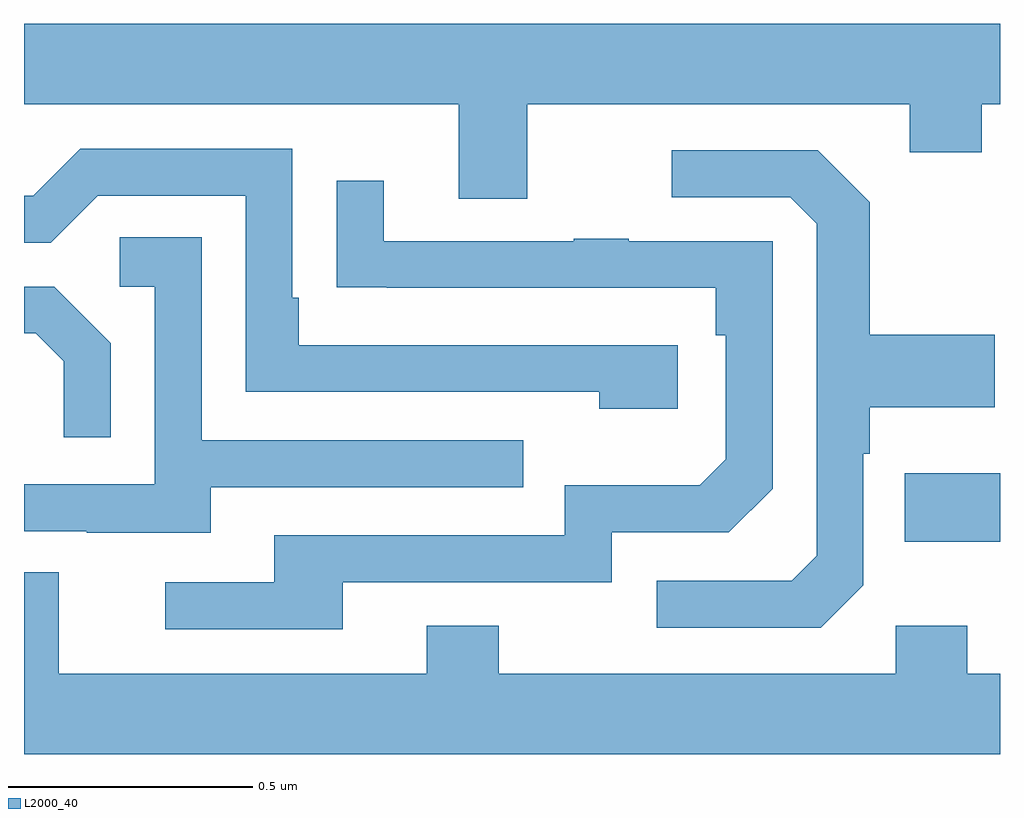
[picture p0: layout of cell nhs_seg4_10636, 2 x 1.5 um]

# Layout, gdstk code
import gdstk
lib = gdstk.Library(unit=1e-6, precision=1e-09)
def R(c, l, rs):  # rectangles x0, y0, x1, y1
    for r in rs: c.add(gdstk.rectangle(r[:2], r[2:], *l))
def P(c, l, *ps):  # polygons
    for p in ps: c.add(gdstk.Polygon(p, *l))
L2000_40 = (2000, 40)

nhs_seg4_10636 = lib.new_cell('nhs_seg4_10636')
R(nhs_seg4_10636, L2000_40, [(243.805,806.579,244,806.719)])
P(nhs_seg4_10636, L2000_40, [(243.031,807.476),(243.815,807.476),(243.815,807.377),(243.963,807.377),(243.963,807.476),(244,807.476),(244,807.64),(242,807.64),(242,807.476),(242.891,807.476),(242.891,807.282),(243.031,807.282)],
  [(243.34,806.982),(242.563,806.982),(242.563,807.079),(242.55,807.079),(242.55,807.384),(242.115,807.384),(242.019,807.288),(242,807.288),(242,807.192),(242.055,807.192),(242.151,807.288),(242.454,807.288),(242.454,806.886),(243.179,806.886),(243.179,806.852),(243.34,806.852)],
  [(243.72,806.49),(243.72,806.759),(243.733,806.759),(243.733,806.855),(243.989,806.855),(243.989,807.003),(243.733,807.003),(243.733,807.275),(243.627,807.381),(243.327,807.381),(243.327,807.285),(243.57,807.285),(243.624,807.231),(243.624,806.55),(243.573,806.499),(243.297,806.499),(243.297,806.403),(243.633,806.403)],
  [(242.653,806.496),(243.204,806.496),(243.204,806.598),(243.444,806.598),(243.534,806.688),(243.534,807.195),(243.239,807.195),(243.239,807.2),(243.127,807.2),(243.127,807.195),(242.737,807.195),(242.737,807.319),(242.641,807.319),(242.641,807.1),(242.743,807.1),(242.743,807.099),(243.418,807.099),(243.418,807.002),(243.438,807.002),(243.438,806.748),(243.385,806.695),(243.108,806.695),(243.108,806.592),(242.513,806.592),(242.513,806.496),(242.289,806.496),(242.289,806.4),(242.653,806.4)],
  [(242.383,806.691),(243.023,806.691),(243.023,806.787),(242.364,806.787),(242.364,807.203),(242.196,807.203),(242.196,807.102),(242.268,807.102),(242.268,806.697),(242,806.697),(242,806.601),(242.129,806.601),(242.129,806.597),(242.383,806.597)],
  [(242.178,806.986),(242.062,807.102),(242,807.102),(242,807.006),(242.024,807.006),(242.081,806.949),(242.081,806.793),(242.178,806.793)],
  [(244,806.308),(243.933,806.308),(243.933,806.407),(243.786,806.407),(243.786,806.308),(242.973,806.308),(242.973,806.407),(242.825,806.407),(242.825,806.308),(242.071,806.308),(242.071,806.516),(242,806.516),(242,806.144),(244,806.144)])

lib.write_gds('nhs_seg4_10636.gds')
